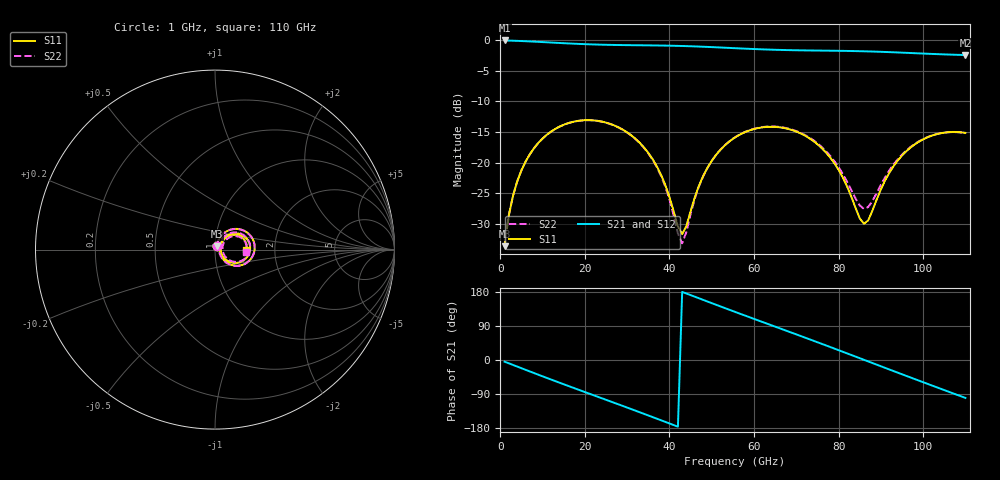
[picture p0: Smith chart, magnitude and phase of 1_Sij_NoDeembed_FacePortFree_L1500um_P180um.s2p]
! Touchstone file exported from HFSS 2024.2.0
!  File:  C:/Users/vaintrug/Documents/Ansoft_Workspace/Comparaison_Calculs_HFSS/1_VarPort.aedt
!  Generated:  03:22:16 PM Jan 21, 2025
!  Design:  1_NoDeembed_FacePortFree
!  Project:  1_VarPort
!  Setup:  Setup1
!  Solution:  Sweep
! Variables:
!  $Lenght = 1500um
!  $PortSize = 180um
!  Gap = 30um
!  Th = 2um
!  X_centralStrip = 20um
!  X_masse = 200um
!  Y_Sub = 1.5mm
!  Z_Box = 400um
!  Z_Sub = 200um
# GHz S MA R 50.000000
! Terminal data exported
! Port[1] = 1
! Port[2] = 2
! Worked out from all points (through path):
!   110 points, 1 GHz to 110 GHz, reference 50 ohm
!   highest |S21| = -0.10 dB at 1 GHz (marker M1); lowest = -2.5 dB at 110 GHz (marker M2)
!   group delay of S21, straight-line fit = 11.6 ps
!   lowest |S11| = -33.6 dB at 1 GHz (marker M3), VSWR 1.04, Z = 50.9 + j1.89 ohm
!   |S11| at or under -10 dB: start of sweep to end of sweep
!   |S22| runs from -33.6 to -13.1 dB; largest |S21 - S12| = 1.6e-14
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1  0.02087 62.7  0.9891 -4.4  0.9891 -4.4  0.02087 62.6
! Gamma 5.75966606126712 49.7101568267146 5.91567341427131 50.1004172298841
! Port Impedance 50 0 50 0
2  0.03727 69.6  0.9865 -8.8  0.9865 -8.8  0.03726 69.6
3  0.05402 69.9  0.984 -13.1  0.984 -13.1  0.05401 69.9
7  0.1175 58.5  0.9713 -30.4  0.9713 -30.4  0.1175 58.4
14  0.1965 31.4  0.9433 -59.9  0.9433 -59.9  0.1964 31.2
20  0.2217 8.2  0.9228 -84.6  0.9228 -84.6  0.2215 7.9
24  0.216 -6.8  0.9135 -101.0  0.9135 -101.0  0.2156 -7.2
29  0.1853 -25.0  0.9067 -121.5  0.9067 -121.5  0.1847 -25.6
34  0.1326 -41.3  0.9027 -142.2  0.9027 -142.2  0.1316 -42.5
38  0.07968 -49.4  0.8991 -159.0  0.8991 -159.0  0.07809 -51.6
43  0.02618 2.2  0.8914 179.7  0.8914 179.7  0.02204 4.3
46  0.05237 49.6  0.8846 167.0  0.8846 167.0  0.051 54.6
49  0.09111 51.1  0.8762 154.3  0.8762 154.3  0.09075 54.3
56  0.1644 31.8  0.8539 125.0  0.8539 125.0  0.1649 34.0
65  0.1955 1.0  0.8303 88.0  0.8303 88.0  0.1968 3.2
74  0.1503 -28.7  0.8191 51.0  0.8191 51.0  0.1526 -25.4
80  0.08742 -42.1  0.8145 26.0  0.8145 26.0  0.09181 -36.6
86  0.03174 0.7  0.807 0.5  0.807 0.5  0.04202 0.3
92  0.08258 48.5  0.7946 -25.0  0.7946 -25.0  0.08624 41.6
96  0.1236 41.4  0.7843 -41.9  0.7843 -41.9  0.1254 36.5
101  0.1606 27.1  0.771 -62.8  0.771 -62.8  0.1613 23.2
110  0.1747 -1.1  0.7523 -100.1  0.7523 -100.1  0.1739 -4.7
